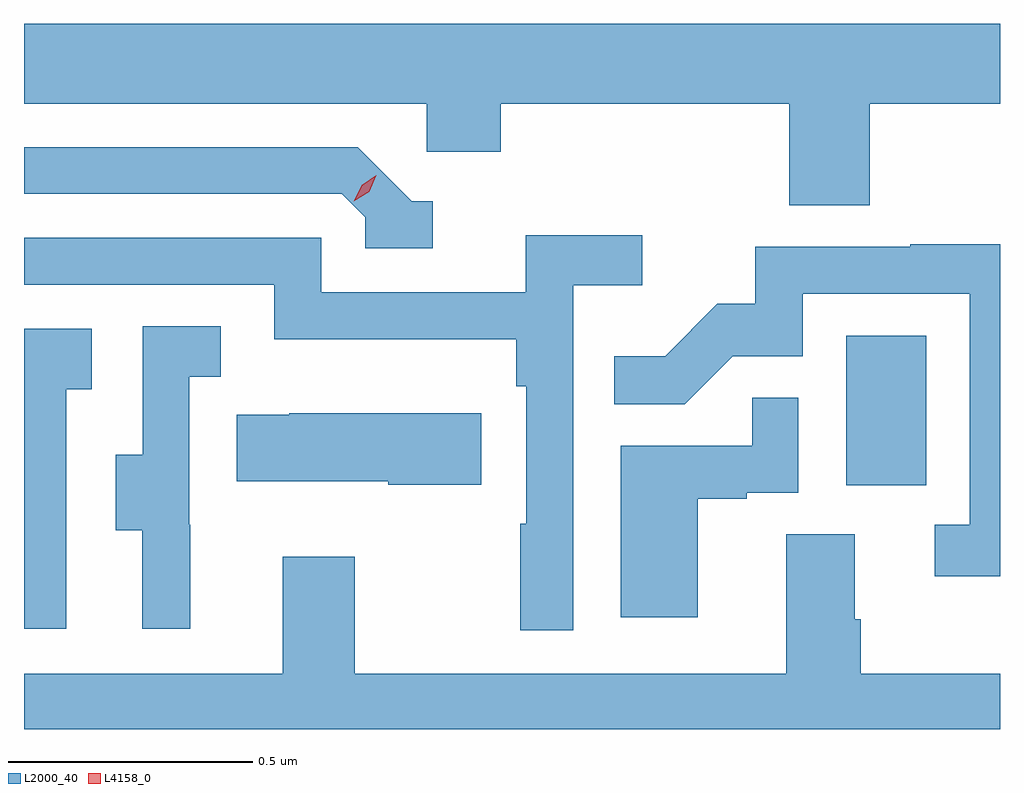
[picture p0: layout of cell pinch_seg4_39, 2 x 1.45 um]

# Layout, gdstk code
import gdstk
lib = gdstk.Library(unit=1e-6, precision=1e-09)
def R(c, l, rs):  # rectangles x0, y0, x1, y1
    for r in rs: c.add(gdstk.rectangle(r[:2], r[2:], *l))
def P(c, l, *ps):  # polygons
    for p in ps: c.add(gdstk.Polygon(p, *l))
L2000_40 = (2000, 40)
L4158_0 = (4158, 0)

pinch_seg4_39 = lib.new_cell('pinch_seg4_39')
R(pinch_seg4_39, L2000_40, [(1128.62,825.342,1128.784,825.649)])
P(pinch_seg4_39, L2000_40, [(1128.668,826.124),(1128.935,826.124),(1128.935,826.288),(1126.935,826.288),(1126.935,826.124),(1127.76,826.124),(1127.76,826.026),(1127.912,826.026),(1127.912,826.124),(1128.503,826.124),(1128.503,825.916),(1128.668,825.916)],
  [(1127.773,825.924),(1127.73,825.924),(1127.619,826.035),(1126.935,826.035),(1126.935,825.939),(1127.586,825.939),(1127.634,825.891),(1127.634,825.828),(1127.773,825.828)],
  [(1128.06,825.752),(1128.202,825.752),(1128.202,825.854),(1127.963,825.854),(1127.963,825.738),(1127.544,825.738),(1127.544,825.849),(1126.935,825.849),(1126.935,825.753),(1127.448,825.753),(1127.448,825.641),(1127.944,825.641),(1127.944,825.545),(1127.964,825.545),(1127.964,825.263),(1127.952,825.263),(1127.952,825.045),(1128.06,825.045)],
  [(1128.935,825.836),(1128.751,825.836),(1128.751,825.831),(1128.433,825.831),(1128.433,825.714),(1128.356,825.714),(1128.249,825.607),(1128.145,825.607),(1128.145,825.508),(1128.289,825.508),(1128.387,825.606),(1128.531,825.606),(1128.531,825.735),(1128.873,825.735),(1128.873,825.261),(1128.801,825.261),(1128.801,825.156),(1128.935,825.156)],
  [(1127.276,825.261),(1127.274,825.261),(1127.274,825.565),(1127.338,825.565),(1127.338,825.668),(1127.178,825.668),(1127.178,825.405),(1127.123,825.405),(1127.123,825.25),(1127.177,825.25),(1127.177,825.048),(1127.276,825.048)],
  [(1127.022,825.539),(1127.074,825.539),(1127.074,825.663),(1126.935,825.663),(1126.935,825.048),(1127.022,825.048)],
  [(1128.316,825.315),(1128.416,825.315),(1128.416,825.327),(1128.522,825.327),(1128.522,825.521),(1128.427,825.521),(1128.427,825.423),(1128.158,825.423),(1128.158,825.072),(1128.316,825.072)],
  [(1127.872,825.49),(1127.479,825.49),(1127.479,825.487),(1127.371,825.487),(1127.371,825.35),(1127.681,825.35),(1127.681,825.343),(1127.872,825.343)],
  [(1128.935,824.956),(1128.65,824.956),(1128.65,825.068),(1128.637,825.068),(1128.637,825.242),(1128.497,825.242),(1128.497,824.956),(1127.613,824.956),(1127.613,825.196),(1127.465,825.196),(1127.465,824.956),(1126.935,824.956),(1126.935,824.842),(1128.935,824.842)])
P(pinch_seg4_39, L4158_0, [(1127.611,825.924),(1127.611,825.924),(1127.627,825.957),(1127.657,825.977),(1127.657,825.977),(1127.657,825.977),(1127.642,825.944),(1127.611,825.924)])

lib.write_gds('pinch_seg4_39.gds')
